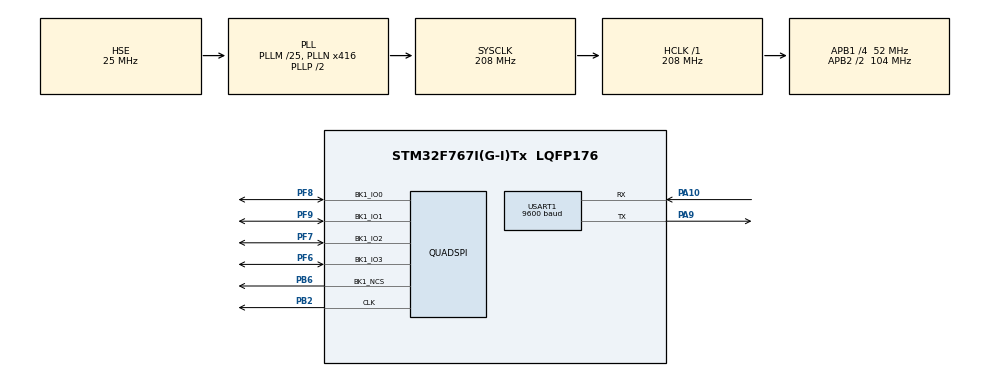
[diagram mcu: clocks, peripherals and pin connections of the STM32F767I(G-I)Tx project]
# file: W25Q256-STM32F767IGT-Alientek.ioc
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Mcu.Family=STM32F7
Mcu.Name=STM32F767I(G-I)Tx
Mcu.Package=LQFP176
NVIC.PriorityGroup=NVIC_PRIORITYGROUP_4
NVIC.USART1_IRQn=true\:0\:0\:false\:false\:true\:true\:true
PA10.Mode=Asynchronous
PA10.Signal=USART1_RX
PA13.Mode=Trace_Asynchronous_SW
PA13.Signal=SYS_JTMS-SWDIO
PA14.Mode=Trace_Asynchronous_SW
PA14.Signal=SYS_JTCK-SWCLK
PA9.Mode=Asynchronous
PA9.Signal=USART1_TX
PB2.GPIO_Mode=GPIO_MODE_AF_PP
PB2.GPIO_PuPd=GPIO_PULLUP
PB2.GPIO_Speed=GPIO_SPEED_FREQ_VERY_HIGH
PB2.Mode=Single Bank 1
PB2.Signal=QUADSPI_CLK
PB3.Mode=Trace_Asynchronous_SW
PB3.Signal=SYS_JTDO-SWO
PB6.GPIO_FM6=SYSCFG_PMC_I2C_PB6_FMP
PB6.GPIO_Mode=GPIO_MODE_AF_PP
PB6.GPIO_PuPd=GPIO_PULLUP
PB6.GPIO_Speed=GPIO_SPEED_FREQ_VERY_HIGH
PB6.Mode=Single Bank 1
PB6.Signal=QUADSPI_BK1_NCS
PF6.GPIO_Mode=GPIO_MODE_AF_PP
PF6.GPIO_PuPd=GPIO_PULLUP
PF6.GPIO_Speed=GPIO_SPEED_FREQ_VERY_HIGH
PF6.Mode=Single Bank 1
PF6.Signal=QUADSPI_BK1_IO3
PF7.GPIO_Mode=GPIO_MODE_AF_PP
PF7.GPIO_PuPd=GPIO_PULLUP
PF7.GPIO_Speed=GPIO_SPEED_FREQ_VERY_HIGH
PF7.Mode=Single Bank 1
PF7.Signal=QUADSPI_BK1_IO2
PF8.GPIO_Mode=GPIO_MODE_AF_PP
PF8.GPIO_PuPd=GPIO_PULLUP
PF8.GPIO_Speed=GPIO_SPEED_FREQ_VERY_HIGH
PF8.Mode=Single Bank 1
PF8.Signal=QUADSPI_BK1_IO0
PF9.GPIO_Mode=GPIO_MODE_AF_PP
PF9.GPIO_PuPd=GPIO_PULLUP
PF9.GPIO_Speed=GPIO_SPEED_FREQ_VERY_HIGH
PF9.Mode=Single Bank 1
PF9.Signal=QUADSPI_BK1_IO1
PH0/OSC_IN.Mode=HSE-External-Oscillator
PH0/OSC_IN.Signal=RCC_OSC_IN
PH1/OSC_OUT.Mode=HSE-External-Oscillator
PH1/OSC_OUT.Signal=RCC_OSC_OUT
ProjectManager.HeapSize=0x200
ProjectManager.StackSize=0x400
ProjectManager.TargetToolchain=STM32CubeIDE
QUADSPI.ChipSelectHighTime=QSPI_CS_HIGH_TIME_5_CYCLE
QUADSPI.ClockPrescaler=1
QUADSPI.FifoThreshold=4
QUADSPI.FlashSize=24
QUADSPI.SampleShifting=QSPI_SAMPLE_SHIFTING_HALFCYCLE
RCC.AHBFreq_Value=208000000
RCC.APB1CLKDivider=RCC_HCLK_DIV4
RCC.APB1Freq_Value=52000000
RCC.APB1TimFreq_Value=104000000
RCC.APB2CLKDivider=RCC_HCLK_DIV2
RCC.APB2Freq_Value=104000000
RCC.APB2TimFreq_Value=208000000
RCC.CortexFreq_Value=208000000
RCC.HCLKFreq_Value=208000000
RCC.HSE_VALUE=25000000
RCC.HSI_VALUE=16000000
RCC.LSE_VALUE=32768
RCC.PLLM=25
RCC.PLLN=416
RCC.PLLSourceVirtual=RCC_PLLSOURCE_HSE
RCC.SYSCLKFreq_VALUE=208000000
RCC.SYSCLKSource=RCC_SYSCLKSOURCE_PLLCLK
RCC.USBFreq_Value=208000000
RCC.VCOOutputFreq_Value=416000000
USART1.BaudRate=9600
USART1.VirtualMode-Asynchronous=VM_ASYNC
board=custom

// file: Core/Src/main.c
/* USER CODE BEGIN Header */
/**
 ******************************************************************************
 * @file           : main.c
 * @brief          : Main program body
 ******************************************************************************
 * @attention
 *
 * <h2><center>&copy; Copyright (c) 2020 STMicroelectronics.
 * All rights reserved.</center></h2>
 *
 * This software component is licensed by ST under BSD 3-Clause license,
 * the "License"; You may not use this file except in compliance with the
 * License. You may obtain a copy of the License at:
 *                        opensource.org/licenses/BSD-3-Clause
 *
 ******************************************************************************
 */
/* USER CODE END Header */
#include "main.h"
#include "quadspi.h"
#include "usart.h"
#include "gpio.h"

/* USER CODE BEGIN Includes */
#include <stdio.h>
#include <string.h>
#define SECTORS_COUNT 200
/* USER CODE END Includes */

void SystemClock_Config(void);

int main(void)
{

  /* MCU Configuration--------------------------------------------------------*/

  /* Reset of all peripherals, Initializes the Flash interface and the Systick. */
  HAL_Init();

  /* Configure the system clock */
  SystemClock_Config();

  /* Initialize all configured peripherals */
  MX_GPIO_Init();
  MX_QUADSPI_Init();
  MX_USART1_UART_Init();
  /* USER CODE BEGIN 2 */
	uint8_t buffer_test[MEMORY_SECTOR_SIZE];
	uint32_t var = 0;

	if (CSP_QUADSPI_Init() != HAL_OK)
	{
		while (1)
			;
	}

	for (var = 0; var < MEMORY_SECTOR_SIZE; var++)
	{
		buffer_test[var] = (var & 0xff);
	}

	for (var = 0; var < SECTORS_COUNT; var++)
	{
		if (CSP_QSPI_Erase_Chip() != HAL_OK)
		{
			Error_Handler();
		}

		if (CSP_QSPI_EraseSector(var * MEMORY_SECTOR_SIZE,
				(var + 1) * MEMORY_SECTOR_SIZE - 1) != HAL_OK)
		{
			while (1)
				; //breakpoint - error detected
		}

		if (CSP_QSPI_WriteMemory(buffer_test, var * MEMORY_SECTOR_SIZE,
				sizeof(buffer_test)) != HAL_OK)
		{

			while (1)
				; //breakpoint - error detected
		}
	}

	if (CSP_QSPI_EnableMemoryMappedMode() != HAL_OK)
	{
		while (1)
			; //breakpoint - error detected
	}

	for (var = 0; var < SECTORS_COUNT; var++)
	{
		if (memcmp(buffer_test,
				(uint8_t*) (0x90000000 + var * MEMORY_SECTOR_SIZE),
				MEMORY_SECTOR_SIZE) != HAL_OK)
		{
			while (1)
				; //breakpoint - error detected - o-therwise QSPI works properly
		}
	}
  /* USER CODE END 2 */

  /* Infinite loop */
	while (1)
	{

	}
}

void SystemClock_Config(void)
{
  RCC_OscInitTypeDef RCC_OscInitStruct = {0};
  RCC_ClkInitTypeDef RCC_ClkInitStruct = {0};
  RCC_PeriphCLKInitTypeDef PeriphClkInitStruct = {0};

  /** Configure the main internal regulator output voltage
  */
  __HAL_RCC_PWR_CLK_ENABLE();
  __HAL_PWR_VOLTAGESCALING_CONFIG(PWR_REGULATOR_VOLTAGE_SCALE1);
  /** Initializes the RCC Oscillators according to the specified parameters
  * in the RCC_OscInitTypeDef structure.
  */
  RCC_OscInitStruct.OscillatorType = RCC_OSCILLATORTYPE_HSE;
  RCC_OscInitStruct.HSEState = RCC_HSE_ON;
  RCC_OscInitStruct.PLL.PLLState = RCC_PLL_ON;
  RCC_OscInitStruct.PLL.PLLSource = RCC_PLLSOURCE_HSE;
  RCC_OscInitStruct.PLL.PLLM = 25;
  RCC_OscInitStruct.PLL.PLLN = 416;
  RCC_OscInitStruct.PLL.PLLP = RCC_PLLP_DIV2;
  RCC_OscInitStruct.PLL.PLLQ = 2;
  RCC_OscInitStruct.PLL.PLLR = 2;
  if (HAL_RCC_OscConfig(&RCC_OscInitStruct) != HAL_OK)
  {
    Error_Handler();
  }
  /** Activate the Over-Drive mode
  */
  if (HAL_PWREx_EnableOverDrive() != HAL_OK)
  {
    Error_Handler();
  }
  /** Initializes the CPU, AHB and APB buses clocks
  */
  RCC_ClkInitStruct.ClockType = RCC_CLOCKTYPE_HCLK|RCC_CLOCKTYPE_SYSCLK
                              |RCC_CLOCKTYPE_PCLK1|RCC_CLOCKTYPE_PCLK2;
  RCC_ClkInitStruct.SYSCLKSource = RCC_SYSCLKSOURCE_PLLCLK;
  RCC_ClkInitStruct.AHBCLKDivider = RCC_SYSCLK_DIV1;
  RCC_ClkInitStruct.APB1CLKDivider = RCC_HCLK_DIV4;
  RCC_ClkInitStruct.APB2CLKDivider = RCC_HCLK_DIV2;

  if (HAL_RCC_ClockConfig(&RCC_ClkInitStruct, FLASH_LATENCY_6) != HAL_OK)
  {
    Error_Handler();
  }
  PeriphClkInitStruct.PeriphClockSelection = RCC_PERIPHCLK_USART1;
  PeriphClkInitStruct.Usart1ClockSelection = RCC_USART1CLKSOURCE_PCLK2;
  if (HAL_RCCEx_PeriphCLKConfig(&PeriphClkInitStruct) != HAL_OK)
  {
    Error_Handler();
  }
}

void Error_Handler(void)
{
	__disable_irq();
	while (1)
	{
	}
}

/************************ (C) COPYRIGHT STMicroelectronics *****END OF FILE****/
